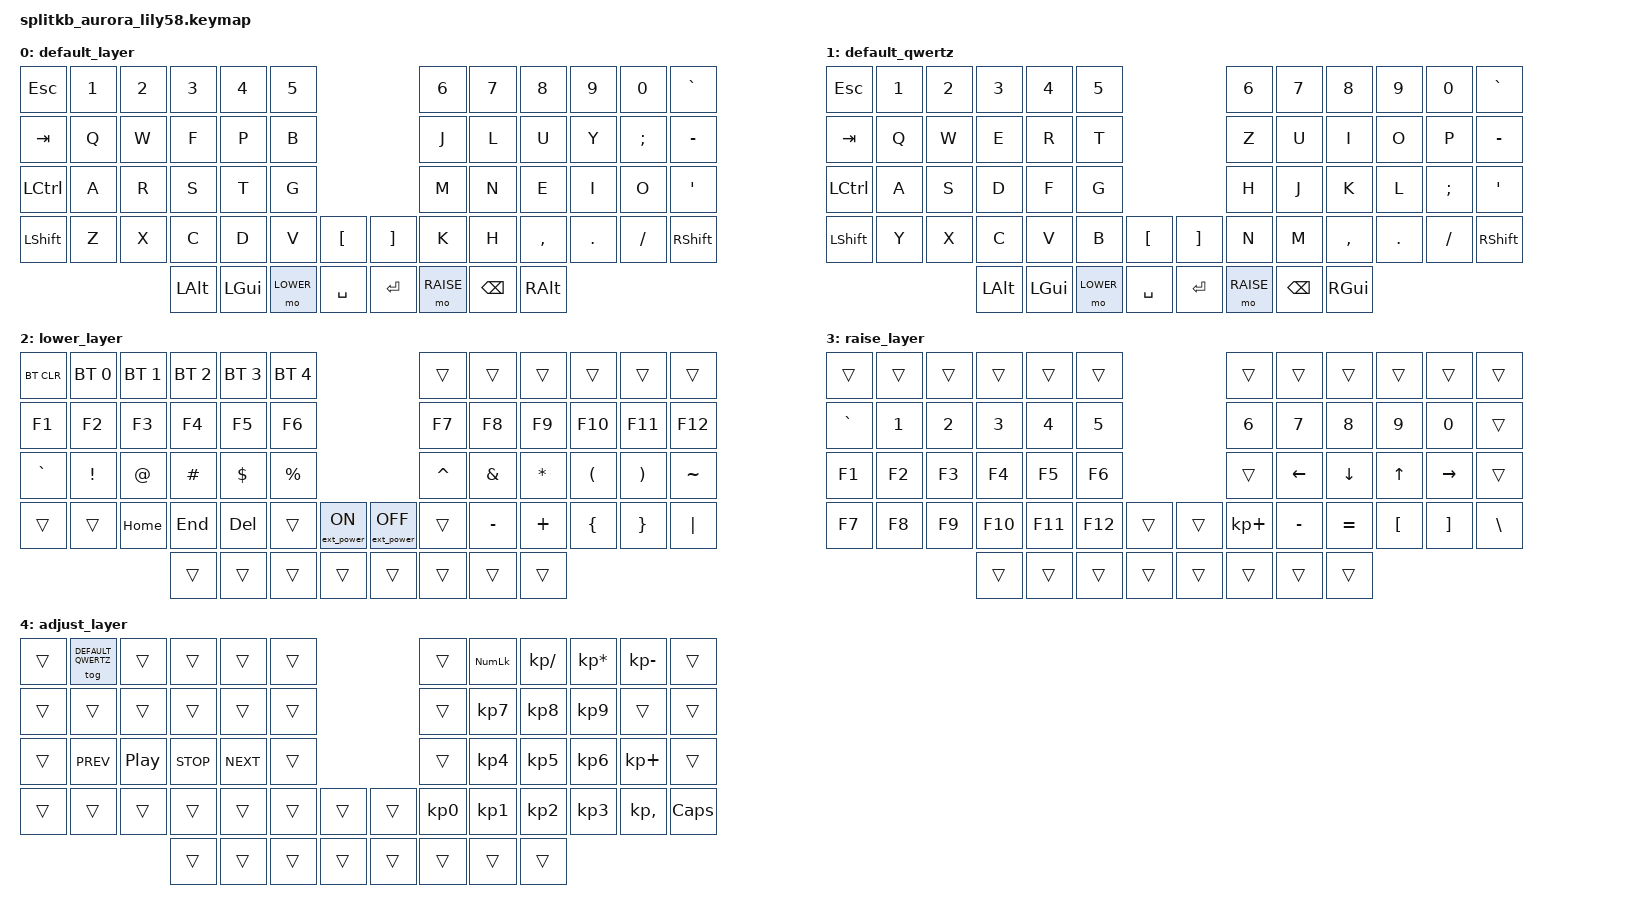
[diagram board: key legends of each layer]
/*
 * Copyright (c) 2020 The ZMK Contributors
 *
 * SPDX-License-Identifier: MIT
 */

#include <behaviors.dtsi>
#include <dt-bindings/zmk/bt.h>
#include <dt-bindings/zmk/ext_power.h>
#include <dt-bindings/zmk/keys.h>

#define DEFAULT 0
#define DEFAULT_QWERTZ 1
#define LOWER 2
#define RAISE 3
#define ADJUST 4

/ {
    conditional_layers {
        compatible = "zmk,conditional-layers";
        tri_layer {
            if-layers = <2 3>;
            then-layer = <4>;
        };
    };
    
    keymap {
        compatible = "zmk,keymap";

		default_layer {
// ------------------------------------------------------------------------------------------------------------
// |  ESC  |  1  |  2  |  3   |  4   |  5   |                   |  6   |  7    |  8    |  9   |   0   |   `   |
// |  TAB  |  Q  |  W  |  F   |  P   |  B   |                   |  J   |  L    |  U    |  Y   |   ;   |   -   |
// |  CTRL |  A  |  R  |  S   |  T   |  G   |                   |  M   |  N    |  E    |  I   |   O   |   '   |
// | SHIFT |  Z  |  X  |  C   |  D   |  V   |   "["  |  |  "]"  |  K   |  H    |  ,    |  .   |   /   | SHIFT |
//                     | ALT  | GUI  | LOWER|  SPACE |  | ENTER | RAISE| BSPC  | RALT  |

            bindings = <
&kp ESC    &kp N1  &kp N2  &kp N3    &kp N4    &kp N5                             &kp N6     &kp N7    &kp N8     &kp N9   &kp N0         &kp GRAVE
&kp TAB    &kp Q   &kp W   &kp F     &kp P     &kp B                              &kp J      &kp L     &kp U      &kp Y    &kp SEMICOLON  &kp MINUS
&kp LCTRL  &kp A   &kp R   &kp S     &kp T     &kp G                              &kp M      &kp N     &kp E      &kp I    &kp O          &kp SQT
&kp LSHFT  &kp Z   &kp X   &kp C     &kp D     &kp V       &kp LBKT     &kp RBKT  &kp K      &kp H     &kp COMMA  &kp DOT  &kp FSLH       &kp RSHFT
                           &kp LALT  &kp LGUI  &mo LOWER   &kp SPACE    &kp RET   &mo RAISE  &kp BSPC  &kp RALT
            >;
        };
        
        default_qwertz {
// ------------------------------------------------------------------------------------------------------------
// |  ESC  |  1  |  2  |  3   |  4   |  5   |                   |  6   |  7    |  8    |  9   |   0   |   `   |
// |  TAB  |  Q  |  W  |  E   |  R   |  T   |                   |  Z   |  U    |  I    |  O   |   P   |   -   |
// |  CTRL |  A  |  S  |  D   |  F   |  G   |                   |  H   |  J    |  K    |  L   |   ;   |   '   |
// | SHIFT |  Z  |  X  |  C   |  V   |  B   |   "["  |  |  "]"  |  N   |  M    |  ,    |  .   |   /   | SHIFT |
//                     | ALT  | GUI  | LOWER|  SPACE |  | ENTER | RAISE| BSPC  | GUI   |
            bindings = <
&kp ESC   &kp N1 &kp N2 &kp N3   &kp N4   &kp N5                         &kp N6 &kp N7   &kp N8    &kp N9  &kp N0   &kp GRAVE
&kp TAB   &kp Q  &kp W  &kp E    &kp R    &kp T                          &kp Z  &kp U    &kp I     &kp O   &kp P    &kp MINUS
&kp LCTRL &kp A  &kp S  &kp D    &kp F    &kp G                          &kp H  &kp J    &kp K     &kp L   &kp SEMI &kp SQT
&kp LSHFT &kp Y  &kp X  &kp C    &kp V    &kp B      &kp LBKT   &kp RBKT &kp N      &kp M    &kp COMMA &kp DOT &kp FSLH &kp RSHFT
                        &kp LALT &kp LGUI &mo LOWER  &kp SPACE  &kp RET  &mo RAISE  &kp BSPC &kp RGUI
            >;
        };        
        
        lower_layer {
// ------------------------------------------------------------------------------------------------------------
// | BTCLR | BT1 | BT2 |  BT3 |  BT4 |  BT5 |                   |      |       |       |      |       |       |
// |  F1   |  F2 |  F3 |  F4  |  F5  |  F6  |                   |  F7  |  F8   |  F9   |  F10 |  F11  |  F12  |
// |   `   |  !  |  @  |  #   |  $   |  %   |                   |  ^   |  &    |  *    |  (   |   )   |   ~   |
// |       |     | HOME|  END |  DEL |      |  EP_ON |  | EP_OFF|      |  _    |  +    |  {   |   }   |  "|"  |
//                     |      |      |      |        |  |       |      |       |       |

            bindings = <
&bt BT_CLR  &bt BT_SEL 0  &bt BT_SEL 1  &bt BT_SEL 2  &bt BT_SEL 3  &bt BT_SEL 4                                         &trans     &trans     &trans     &trans    &trans    &trans
&kp F1      &kp F2        &kp F3        &kp F4        &kp F5        &kp F6                                               &kp F7     &kp F8     &kp F9     &kp F10   &kp F11   &kp F12
&kp GRAVE   &kp EXCL      &kp AT        &kp HASH      &kp DOLLAR    &kp PRCNT                                            &kp CARET  &kp AMPS   &kp ASTRK  &kp LPAR  &kp RPAR  &kp TILDE
&trans      &trans        &kp HOME      &kp END       &kp DELETE    &trans        &ext_power EP_ON    &ext_power EP_OFF  &trans     &kp MINUS  &kp PLUS   &kp LBRC  &kp RBRC  &kp PIPE
                                        &trans        &trans        &trans        &trans              &trans             &trans     &trans     &trans
            >;
        };

        raise_layer {
// ------------------------------------------------------------------------------------------------------------
// |       |     |     |      |      |      |                   |      |       |       |      |       |       |
// |   `   |  1  |  2  |  3   |  4   |  5   |                   |  6   |   7   |   8   |  9   |   0   |       |
// |   F1  |  F2 |  F3 |  F4  |  F5  |  F6  |                   |      |   <-  |   v   |  ^   |  ->   |       |
// |   F7  |  F8 |  F9 |  F10 |  F11 |  F12 |        |  |       |  +   |   -   |   =   |  [   |   ]   |   \   |
//                     |      |      |      |        |  |       |      |       |       |

            bindings = <
&trans     &trans  &trans  &trans   &trans   &trans                     &trans       &trans     &trans     &trans    &trans     &trans
&kp GRAVE  &kp N1  &kp N2  &kp N3   &kp N4   &kp N5                     &kp N6       &kp N7     &kp N8     &kp N9    &kp N0     &trans
&kp F1     &kp F2  &kp F3  &kp F4   &kp F5   &kp F6                     &trans       &kp LEFT   &kp DOWN   &kp UP    &kp RIGHT  &trans
&kp F7     &kp F8  &kp F9  &kp F10  &kp F11  &kp F12  &trans    &trans  &kp KP_PLUS  &kp MINUS  &kp EQUAL  &kp LBKT  &kp RBKT   &kp BSLH
                           &trans   &trans   &trans   &trans    &trans  &trans       &trans     &trans
            >;
        };

        adjust_layer {
// ------------------------------------------------------------------------------------------------------------
// |       |T_QWE|     |      |      |      |                   |      |       |   /   |   *  |   -   |       |
// |       |     |     |      |      |      |                   |      |   7   |   8   |   9  |       |       |
// |       |PREV |PL/PA| STOP | NEXT |      |        |  |       |      |   4   |   5   |   6  |   +   |       |
// |       |     |     |      |      |      |        |  |       |   0  |   1   |   2   |   3  |   ,   |  CAPS |
//                     |      |      |      |        |  |       |      |       |       |

            bindings = <
&trans  &tog DEFAULT_QWERTZ &trans            &trans      &trans      &trans                     &trans     &kp KP_NUM  &kp KP_DIVIDE   &kp KP_MULTIPLY     &kp KP_MINUS  &trans
&trans  &trans              &trans            &trans      &trans      &trans                     &trans     &kp KP_N7   &kp KP_N8       &kp KP_N9           &trans        &trans
&trans  &kp C_PREV          &kp C_PLAY_PAUSE  &kp C_STOP  &kp C_NEXT  &trans                     &trans     &kp KP_N4   &kp KP_N5       &kp KP_N6           &kp KP_PLUS   &trans
&trans  &trans              &trans            &trans      &trans      &trans  &trans     &trans  &kp KP_N0  &kp KP_N1   &kp KP_N2       &kp KP_N3           &kp KP_COMMA  &kp CAPS
                                      &trans      &trans      &trans  &trans     &trans  &trans     &trans      &trans
            >;
        };
    };
};
